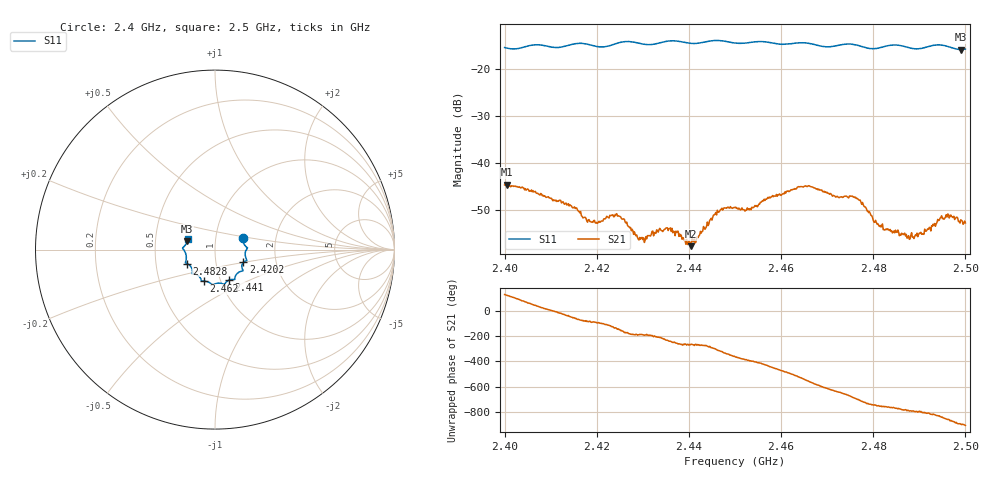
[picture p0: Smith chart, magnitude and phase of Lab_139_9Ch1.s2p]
# Hz S RI R 50
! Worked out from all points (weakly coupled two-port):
!   601 points, 2.4 GHz to 2.5 GHz, reference 50 ohm
!   highest |S21| = -44.56 dB at 2.4005 GHz (marker M1); lowest = -57.7 dB at 2.4405 GHz (marker M2)
!   lowest |S11| = -15.9 dB at 2.499 GHz (marker M3), VSWR 1.38, Z = 36.5 + j3.45 ohm
!   |S11| at or under -10 dB: start of sweep to end of sweep
!   S12 and S22 are empty: the file has one direction only
!   S11 on the Smith chart (normalised r, x): 2.4 GHz: 1.36, +0.18; 2.4202 GHz: 1.36, -0.20; 2.441 GHz: 1.10, -0.39; 2.462 GHz: 0.84, -0.30; 2.4828 GHz: 0.72, -0.12; 2.5 GHz: 0.73, +0.09
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2.4e9  0.1572 0.0629  -0.00346 0.00473  0 0  0 0
2.4005e9  0.1568 0.0574  -0.00292 0.00515  0 0  0 0
2.416667e9  0.1779 -0.0601  0.000683 -0.00267  0 0  0 0
2.420167e9  0.1583 -0.0705  -0.000323 -0.00226  0 0  0 0
2.4245e9  0.1533 -0.1101  -0.00229 -0.00148  0 0  0 0
2.43e9  0.1364 -0.1242  -0.00151 0.000272  0 0  0 0
2.433333e9  0.1123 -0.1508  -0.00161 0.0009  0 0  0 0
2.4355e9  0.1104 -0.1648  -0.00106 0.0016  0 0  0 0
2.4405e9  0.0836 -0.1679  -0.000132 0.0013  0 0  0 0
2.441e9  0.0786 -0.1697  -1.92e-06 0.00146  0 0  0 0
2.445833e9  0.0513 -0.1948  0.00166 0.00248  0 0  0 0
2.45e9  0.0285 -0.1871  0.00335 -0.000184  0 0  0 0
2.453333e9  -0.00265 -0.192  0.00271 -0.00188  0 0  0 0
2.462e9  -0.0603 -0.1755  -0.00363 -0.00357  0 0  0 0
2.466667e9  -0.0776 -0.1682  -0.00496 0.00257  0 0  0 0
2.476667e9  -0.1256 -0.1269  0.0039 0.00143  0 0  0 0
2.482833e9  -0.1575 -0.0777  0.00161 -0.00119  0 0  0 0
2.483333e9  -0.1605 -0.0762  0.00154 -0.00121  0 0  0 0
2.488333e9  -0.1599 -0.0457  0.000567 -0.00173  0 0  0 0
2.496333e9  -0.1723 0.0176  -0.00203 -0.00199  0 0  0 0
2.499e9  -0.1544 0.0461  -0.00248 -0.000288  0 0  0 0
2.5e9  -0.1516 0.0607  -0.00231 0.000161  0 0  0 0
